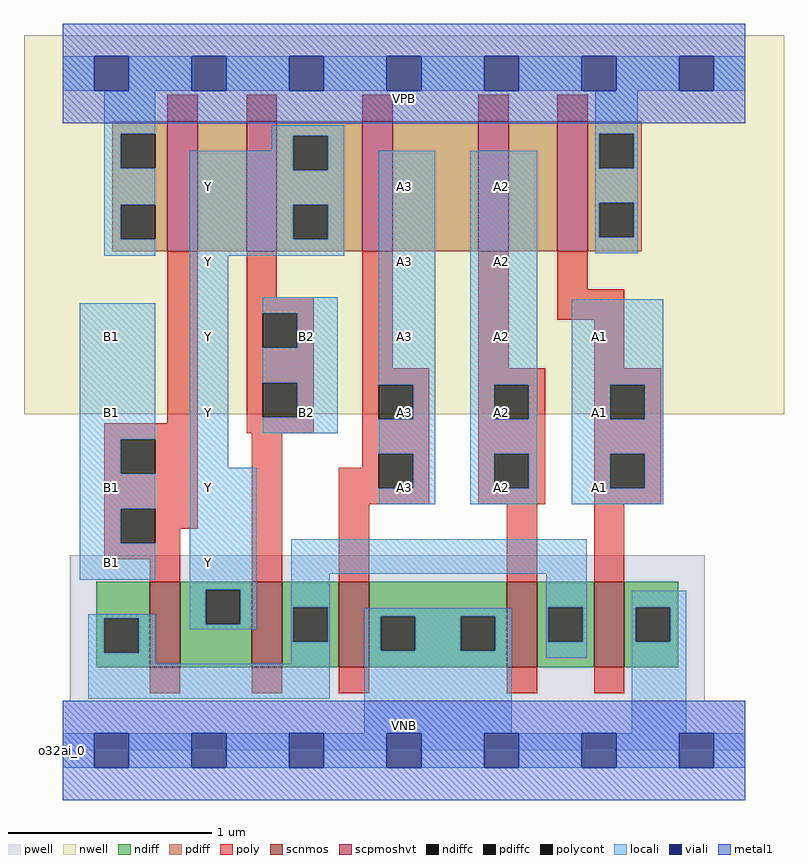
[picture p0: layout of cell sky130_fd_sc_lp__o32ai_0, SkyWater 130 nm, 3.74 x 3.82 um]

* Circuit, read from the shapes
.subckt sky130_fd_sc_lp__o32ai_0 A1 A2 A3 B1 B2 VGND VNB VPB VPWR Y
XM1 Y B1 n1 VNB sky130_fd_pr__nfet_01v8 w=0.42 l=0.15
XM2 n1 B2 Y VNB sky130_fd_pr__nfet_01v8 w=0.42 l=0.15
XM3 VGND A3 n1 VNB sky130_fd_pr__nfet_01v8 w=0.42 l=0.15
XM4 n1 A2 VGND VNB sky130_fd_pr__nfet_01v8 w=0.42 l=0.15
XM5 VGND A1 n1 VNB sky130_fd_pr__nfet_01v8 w=0.42 l=0.15
XM6 n2 B1 VPWR VPB sky130_fd_pr__pfet_01v8_hvt w=0.64 l=0.15
XM7 Y B2 n2 VPB sky130_fd_pr__pfet_01v8_hvt w=0.64 l=0.15
XM8 n3 A3 Y VPB sky130_fd_pr__pfet_01v8_hvt w=0.64 l=0.15
XM9 n4 A2 n3 VPB sky130_fd_pr__pfet_01v8_hvt w=0.64 l=0.15
XM10 VPWR A1 n4 VPB sky130_fd_pr__pfet_01v8_hvt w=0.64 l=0.15
.ends

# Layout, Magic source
magic
tech sky130A
magscale 1 2
<< nwell >>
rect -38 331 710 704
<< pwell >>
rect 7 49 632 192
rect 0 0 672 49
<< scnmos >>
rect 86 82 116 166
rect 186 82 216 166
rect 272 82 302 166
rect 437 82 467 166
rect 523 82 553 166
<< scpmoshvt >>
rect 103 491 133 619
rect 181 491 211 619
rect 295 491 325 619
rect 409 491 439 619
rect 487 491 517 619
<< ndiff >>
rect 33 130 86 166
rect 33 96 41 130
rect 75 96 86 130
rect 33 82 86 96
rect 116 158 186 166
rect 116 124 141 158
rect 175 124 186 158
rect 116 82 186 124
rect 216 141 272 166
rect 216 107 227 141
rect 261 107 272 141
rect 216 82 272 107
rect 302 132 437 166
rect 302 98 313 132
rect 347 98 392 132
rect 426 98 437 132
rect 302 82 437 98
rect 467 141 523 166
rect 467 107 478 141
rect 512 107 523 141
rect 467 82 523 107
rect 553 141 606 166
rect 553 107 564 141
rect 598 107 606 141
rect 553 82 606 107
<< pdiff >>
rect 49 607 103 619
rect 49 573 57 607
rect 91 573 103 607
rect 49 537 103 573
rect 49 503 57 537
rect 91 503 103 537
rect 49 491 103 503
rect 133 491 181 619
rect 211 605 295 619
rect 211 571 227 605
rect 261 571 295 605
rect 211 537 295 571
rect 211 503 227 537
rect 261 503 295 537
rect 211 491 295 503
rect 325 491 409 619
rect 439 491 487 619
rect 517 607 570 619
rect 517 573 528 607
rect 562 573 570 607
rect 517 539 570 573
rect 517 505 528 539
rect 562 505 570 539
rect 517 491 570 505
<< ndiffc >>
rect 41 96 75 130
rect 141 124 175 158
rect 227 107 261 141
rect 313 98 347 132
rect 392 98 426 132
rect 478 107 512 141
rect 564 107 598 141
<< pdiffc >>
rect 57 573 91 607
rect 57 503 91 537
rect 227 571 261 605
rect 227 503 261 537
rect 528 573 562 607
rect 528 505 562 539
<< poly >>
rect 103 619 133 645
rect 181 619 211 645
rect 295 619 325 645
rect 409 619 439 645
rect 487 619 517 645
rect 103 322 133 491
rect 41 306 133 322
rect 181 446 211 491
rect 181 430 247 446
rect 181 396 197 430
rect 231 396 247 430
rect 181 362 247 396
rect 181 328 197 362
rect 231 328 247 362
rect 181 312 247 328
rect 295 376 325 491
rect 409 376 439 491
rect 487 454 517 491
rect 487 424 553 454
rect 523 376 553 424
rect 295 360 361 376
rect 295 326 311 360
rect 345 326 361 360
rect 41 272 57 306
rect 91 272 133 306
rect 41 238 133 272
rect 41 204 57 238
rect 91 218 133 238
rect 91 204 116 218
rect 41 188 116 204
rect 86 166 116 188
rect 186 166 216 312
rect 295 292 361 326
rect 295 278 311 292
rect 272 258 311 278
rect 345 258 361 292
rect 272 242 361 258
rect 409 360 475 376
rect 409 326 425 360
rect 459 326 475 360
rect 409 292 475 326
rect 409 258 425 292
rect 459 258 475 292
rect 409 242 475 258
rect 523 360 589 376
rect 523 326 539 360
rect 573 326 589 360
rect 523 292 589 326
rect 523 258 539 292
rect 573 258 589 292
rect 523 242 589 258
rect 272 166 302 242
rect 437 166 467 242
rect 523 166 553 242
rect 86 56 116 82
rect 186 56 216 82
rect 272 56 302 82
rect 437 56 467 82
rect 523 56 553 82
<< polycont >>
rect 197 396 231 430
rect 197 328 231 362
rect 311 326 345 360
rect 57 272 91 306
rect 57 204 91 238
rect 311 258 345 292
rect 425 326 459 360
rect 425 258 459 292
rect 539 326 573 360
rect 539 258 573 292
<< locali >>
rect 0 649 31 683
rect 65 649 127 683
rect 161 649 223 683
rect 257 649 319 683
rect 353 649 415 683
rect 449 649 511 683
rect 545 649 607 683
rect 641 649 672 683
rect 41 607 91 649
rect 41 573 57 607
rect 206 605 277 615
rect 206 590 227 605
rect 41 537 91 573
rect 41 503 57 537
rect 41 487 91 503
rect 125 571 227 590
rect 261 571 277 605
rect 524 607 566 649
rect 125 537 277 571
rect 125 503 227 537
rect 261 503 277 537
rect 125 487 277 503
rect 17 306 91 440
rect 17 272 57 306
rect 17 238 91 272
rect 17 204 57 238
rect 17 168 91 204
rect 125 278 163 487
rect 197 430 271 446
rect 231 396 271 430
rect 197 362 271 396
rect 231 328 271 362
rect 197 312 271 328
rect 311 360 367 590
rect 345 326 367 360
rect 311 292 367 326
rect 125 158 191 278
rect 345 258 367 292
rect 311 242 367 258
rect 401 360 467 590
rect 524 573 528 607
rect 562 573 566 607
rect 524 539 566 573
rect 524 505 528 539
rect 562 505 566 539
rect 524 489 566 505
rect 401 326 425 360
rect 459 326 467 360
rect 401 292 467 326
rect 401 258 425 292
rect 459 258 467 292
rect 401 242 467 258
rect 501 360 591 444
rect 501 326 539 360
rect 573 326 591 360
rect 501 292 591 326
rect 501 258 539 292
rect 573 258 591 292
rect 501 242 591 258
rect 25 130 91 134
rect 25 96 41 130
rect 75 96 91 130
rect 125 124 141 158
rect 175 124 191 158
rect 125 119 191 124
rect 225 174 516 208
rect 225 141 263 174
rect 25 85 91 96
rect 225 107 227 141
rect 261 107 263 141
rect 476 141 516 174
rect 225 85 263 107
rect 25 51 263 85
rect 297 132 442 140
rect 297 98 313 132
rect 347 98 392 132
rect 426 98 442 132
rect 297 17 442 98
rect 476 107 478 141
rect 512 107 516 141
rect 476 91 516 107
rect 560 141 614 157
rect 560 107 564 141
rect 598 107 614 141
rect 560 17 614 107
rect 0 -17 31 17
rect 65 -17 127 17
rect 161 -17 223 17
rect 257 -17 319 17
rect 353 -17 415 17
rect 449 -17 511 17
rect 545 -17 607 17
rect 641 -17 672 17
<< viali >>
rect 31 649 65 683
rect 127 649 161 683
rect 223 649 257 683
rect 319 649 353 683
rect 415 649 449 683
rect 511 649 545 683
rect 607 649 641 683
rect 31 -17 65 17
rect 127 -17 161 17
rect 223 -17 257 17
rect 319 -17 353 17
rect 415 -17 449 17
rect 511 -17 545 17
rect 607 -17 641 17
<< metal1 >>
rect 0 683 672 715
rect 0 649 31 683
rect 65 649 127 683
rect 161 649 223 683
rect 257 649 319 683
rect 353 649 415 683
rect 449 649 511 683
rect 545 649 607 683
rect 641 649 672 683
rect 0 617 672 649
rect 0 17 672 49
rect 0 -17 31 17
rect 65 -17 127 17
rect 161 -17 223 17
rect 257 -17 319 17
rect 353 -17 415 17
rect 449 -17 511 17
rect 545 -17 607 17
rect 641 -17 672 17
rect 0 -49 672 -17
<< labels >>
flabel pwell s 0 0 672 49 0 FreeSans 200 0 0 0 VNB
port 7 nsew ground bidirectional
flabel nwell s 0 617 672 666 0 FreeSans 200 0 0 0 VPB
port 8 nsew power bidirectional
rlabel comment s 0 0 0 0 4 o32ai_0
flabel metal1 s 0 617 672 666 0 FreeSans 340 0 0 0 VPWR
port 9 nsew power bidirectional
flabel metal1 s 0 0 672 49 0 FreeSans 340 0 0 0 VGND
port 6 nsew ground bidirectional
flabel locali s 511 242 545 276 0 FreeSans 340 0 0 0 A1
port 1 nsew signal input
flabel locali s 511 316 545 350 0 FreeSans 340 0 0 0 A1
port 1 nsew signal input
flabel locali s 511 390 545 424 0 FreeSans 340 0 0 0 A1
port 1 nsew signal input
flabel locali s 415 242 449 276 0 FreeSans 340 0 0 0 A2
port 2 nsew signal input
flabel locali s 415 316 449 350 0 FreeSans 340 0 0 0 A2
port 2 nsew signal input
flabel locali s 415 390 449 424 0 FreeSans 340 0 0 0 A2
port 2 nsew signal input
flabel locali s 415 464 449 498 0 FreeSans 340 0 0 0 A2
port 2 nsew signal input
flabel locali s 415 538 449 572 0 FreeSans 340 0 0 0 A2
port 2 nsew signal input
flabel locali s 319 242 353 276 0 FreeSans 340 0 0 0 A3
port 3 nsew signal input
flabel locali s 319 316 353 350 0 FreeSans 340 0 0 0 A3
port 3 nsew signal input
flabel locali s 319 390 353 424 0 FreeSans 340 0 0 0 A3
port 3 nsew signal input
flabel locali s 319 464 353 498 0 FreeSans 340 0 0 0 A3
port 3 nsew signal input
flabel locali s 319 538 353 572 0 FreeSans 340 0 0 0 A3
port 3 nsew signal input
flabel locali s 31 168 65 202 0 FreeSans 340 0 0 0 B1
port 4 nsew signal input
flabel locali s 31 242 65 276 0 FreeSans 340 0 0 0 B1
port 4 nsew signal input
flabel locali s 31 316 65 350 0 FreeSans 340 0 0 0 B1
port 4 nsew signal input
flabel locali s 31 390 65 424 0 FreeSans 340 0 0 0 B1
port 4 nsew signal input
flabel locali s 223 316 257 350 0 FreeSans 340 0 0 0 B2
port 5 nsew signal input
flabel locali s 223 390 257 424 0 FreeSans 340 0 0 0 B2
port 5 nsew signal input
flabel locali s 127 168 161 202 0 FreeSans 340 0 0 0 Y
port 10 nsew signal output
flabel locali s 127 242 161 276 0 FreeSans 340 0 0 0 Y
port 10 nsew signal output
flabel locali s 127 538 161 572 0 FreeSans 340 0 0 0 Y
port 10 nsew signal output
flabel locali s 127 464 161 498 0 FreeSans 340 0 0 0 Y
port 10 nsew signal output
flabel locali s 127 390 161 424 0 FreeSans 340 0 0 0 Y
port 10 nsew signal output
flabel locali s 127 316 161 350 0 FreeSans 340 0 0 0 Y
port 10 nsew signal output
<< properties >>
string LEFsite unit
string LEFclass CORE
string FIXED_BBOX 0 0 672 666
string GDS_FILE $PDKPATH/libs.ref/sky130_fd_sc_lp/gds/sky130_fd_sc_lp.gds
string LEFsymmetry X Y R90
string GDS_END 2028522
string GDS_START 2020126
<< end >>
